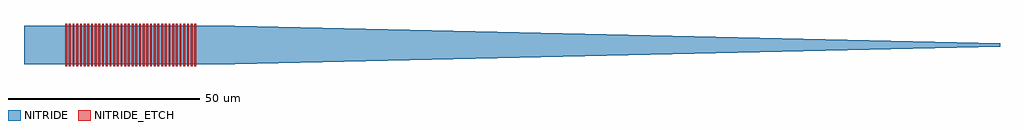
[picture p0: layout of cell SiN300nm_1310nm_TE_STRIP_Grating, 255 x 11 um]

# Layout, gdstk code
import gdstk
lib = gdstk.Library(unit=1e-6, precision=1e-09)
def R(c, l, rs):  # rectangles x0, y0, x1, y1
    for r in rs: c.add(gdstk.rectangle(r[:2], r[2:], *l))
def A(c, l, x, y, w, h, nx, ny, dx, dy):  # array of equal rectangles
    R(c, l, [(x+i*dx, y+j*dy, x+i*dx+w, y+j*dy+h) for i in range(nx) for j in range(ny)])
def P(c, l, *ps):  # polygons
    for p in ps: c.add(gdstk.Polygon(p, *l))
NITRIDE = (203, 0)
NITRIDE_ETCH = (204, 0)

sin300nm_1310nm_te_strip = lib.new_cell('SiN300nm_1310nm_TE_STRIP_Grating')
R(sin300nm_1310nm_te_strip, NITRIDE, [(10,-5,65,5)])
P(sin300nm_1310nm_te_strip, NITRIDE, [(65,-5),(65,5),(265,0.475),(265,-0.475)])
A(sin300nm_1310nm_te_strip, NITRIDE_ETCH, 20.778, -5.5, 0.482, 11, 36, 1, 0.964, 0)

lib.write_gds('SiN300nm_1310nm_TE_STRIP_Grating.gds')
